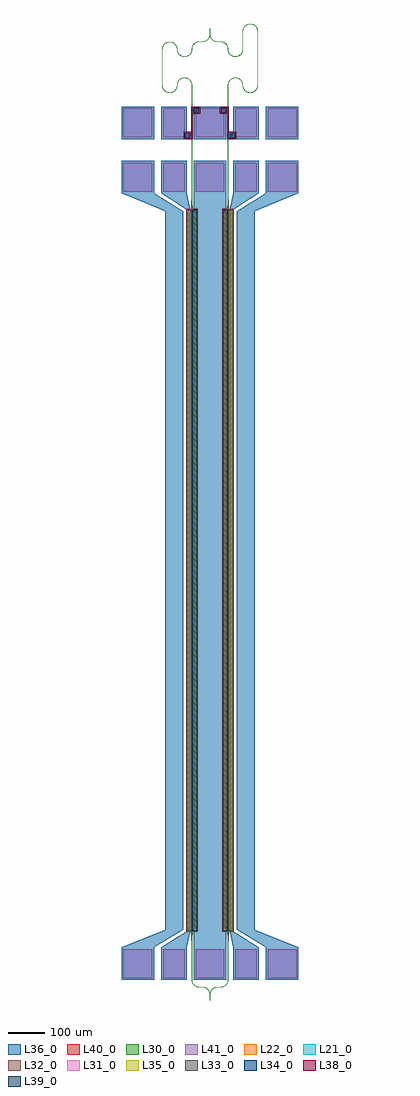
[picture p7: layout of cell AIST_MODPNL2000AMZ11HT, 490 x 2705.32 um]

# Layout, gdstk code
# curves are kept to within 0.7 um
import gdstk
lib = gdstk.Library(unit=1e-6, precision=1e-09)
def R(c, l, rs):  # rectangles x0, y0, x1, y1
    for r in rs: c.add(gdstk.rectangle(r[:2], r[2:], *l))
def A(c, l, x, y, w, h, nx, ny, dx, dy):  # array of equal rectangles
    R(c, l, [(x+i*dx, y+j*dy, x+i*dx+w, y+j*dy+h) for i in range(nx) for j in range(ny)])
def P(c, l, *ps):  # polygons
    for p in ps: c.add(gdstk.Polygon(p, *l))
L21_0 = (21, 0)
L22_0 = (22, 0)
L30_0 = (30, 0)
L31_0 = (31, 0)
L32_0 = (32, 0)
L33_0 = (33, 0)
L34_0 = (34, 0)
L35_0 = (35, 0)
L36_0 = (36, 0)
L38_0 = (38, 0)
L39_0 = (39, 0)
L40_0 = (40, 0)
L41_0 = (41, 0)

aist_modpnl2000amz11ht = lib.new_cell('AIST_MODPNL2000AMZ11HT')
R(aist_modpnl2000amz11ht, L21_0, [(-64.5,229.15,-49.85,2229.65), (49.85,229.15,64.5,2229.65)])
R(aist_modpnl2000amz11ht, L22_0, [(-50.15,228.9,-35.5,2229.9), (35.5,228.9,50.15,2229.9)])
P(aist_modpnl2000amz11ht, L30_0, [(-0.22,38.696),(-1.19,58.454),(-3.172,63.848),(-6.563,68.387),(-11.032,71.74),(-16.026,73.656),(-32.156,74.295),(-38.453,76.031),(-45.041,80.886),(-49.165,87.954),(-50.219,94.16),(-51,228.4),(-65,228.4),(-65,2230.4),(-35,2230.4),(-35,228.4),(-49,228.4),(-49.77,93.759),(-46.899,84.12),(-39.728,77.177),(-32.635,74.796),(-15.873,74.072),(-6.917,69.333),(-1.385,60.846),(-0.095,48.624),(1.411,60.922),(7.036,69.441),(15.873,74.072),(32.635,74.796),(39.728,77.177),(46.899,84.12),(49.77,93.759),(49,228.4),(35,228.4),(35,2230.4),(65,2230.4),(65,228.4),(51,228.4),(50.219,94.16),(49.139,87.878),(45.041,80.886),(38.453,76.031),(32.156,74.295),(16.026,73.656),(11.032,71.74),(6.563,68.387),(3.21,63.918),(1.258,58.768),(1.105,44.472)],
  [(49,2230.4),(49.695,2250.4),(49.78,2260.4),(49.78,2574.88),(49.952,2577.433),(50.328,2579.477),(50.939,2581.548),(51.699,2583.398),(52.637,2585.163),(53.793,2586.891),(55.067,2588.433),(56.486,2589.841),(58.037,2591.102),(59.637,2592.163),(61.547,2593.169),(63.327,2593.887),(65.323,2594.472),(67.05,2594.804),(69.12,2595.001),(71.64,2595.01),(73.633,2594.848),(75.677,2594.472),(77.748,2593.861),(79.598,2593.101),(81.363,2592.163),(83.091,2591.007),(84.633,2589.733),(86.041,2588.314),(87.302,2586.763),(88.363,2585.163),(89.198,2583.614),(89.895,2581.999),(90.493,2580.175),(90.871,2578.539),(91.105,2576.956),(91.21,2575.44),(91.261,2572.52),(91.547,2570.216),(92.173,2567.733),(92.605,2566.527),(93.184,2565.207),(93.937,2563.795),(94.848,2562.382),(95.928,2560.99),(97.013,2559.813),(98.19,2558.728),(99.451,2557.741),(100.788,2556.86),(102.192,2556.089),(104.026,2555.29),(105.932,2554.68),(108.048,2554.241),(109.959,2554.047),(112.641,2554.03),(114.635,2554.196),(116.835,2554.62),(118.824,2555.234),(120.808,2556.089),(122.485,2557.027),(124.252,2558.271),(125.816,2559.645),(127.226,2561.174),(128.469,2562.844),(129.529,2564.635),(130.395,2566.527),(130.991,2568.269),(131.408,2569.98),(131.671,2571.722),(131.779,2573.56),(131.78,2723.88),(131.702,2725.559),(131.408,2727.62),(130.899,2729.638),(130.181,2731.591),(129.223,2733.528),(128.059,2735.349),(126.81,2736.912),(125.291,2738.449),(123.549,2739.859),(121.728,2741.023),(120.084,2741.853),(118.295,2742.552),(116.368,2743.092),(114.635,2743.404),(113.041,2743.553),(106.805,2743.58),(108.606,2743.878),(110.36,2744.01),(112.88,2744.001),(114.633,2743.848),(116.444,2743.526),(117.989,2743.113),(119.645,2742.519),(121.173,2741.82),(122.5,2741.08),(123.963,2740.102),(125.274,2739.053),(126.55,2737.841),(127.716,2736.523),(128.627,2735.307),(129.604,2733.748),(130.369,2732.253),(131.007,2730.699),(131.514,2729.098),(131.886,2727.46),(132.129,2725.717),(132.22,2723.88),(132.219,2573.56),(132.105,2571.644),(131.826,2569.826),(131.405,2568.117),(130.838,2566.452),(129.947,2564.485),(128.895,2562.691),(127.716,2561.077),(126.213,2559.418),(124.661,2558.034),(122.975,2556.817),(121.173,2555.78),(119.199,2554.905),(117.143,2554.245),(114.95,2553.796),(112.88,2553.599),(110.12,2553.599),(108.05,2553.796),(106.089,2554.185),(104.101,2554.793),(102.114,2555.637),(100.637,2556.437),(99.232,2557.357),(97.969,2558.339),(96.787,2559.418),(95.695,2560.586),(94.557,2562.032),(93.637,2563.437),(92.837,2564.914),(91.835,2567.354),(91.425,2568.734),(91.114,2570.14),(90.831,2572.361),(90.77,2575.441),(90.671,2576.878),(90.453,2578.384),(90.057,2580.1),(89.51,2581.774),(88.816,2583.393),(87.94,2585.012),(86.965,2586.478),(85.649,2588.091),(84.291,2589.449),(82.807,2590.67),(81.212,2591.74),(79.376,2592.719),(77.522,2593.474),(75.524,2594.056),(73.635,2594.404),(71.641,2594.57),(69.199,2594.564),(67.365,2594.404),(65.476,2594.056),(63.478,2593.474),(61.697,2592.753),(59.995,2591.863),(58.322,2590.765),(56.709,2589.449),(55.351,2588.091),(54.13,2586.607),(53.06,2585.012),(52.081,2583.176),(51.326,2581.322),(50.744,2579.324),(50.396,2577.435),(50.22,2574.88),(50.22,2260.4),(50.305,2250.4),(51,2230.4)],
  [(69.92,2653.58),(67.606,2653.722),(65.323,2654.128),(63.101,2654.793),(60.97,2655.708),(59.025,2656.817),(57.153,2658.186),(55.45,2659.759),(53.938,2661.517),(52.888,2663.028),(51.908,2664.77),(51.105,2666.601),(50.486,2668.502),(50.114,2670.14),(49.895,2671.644),(49.79,2673.16),(49.744,2676),(49.534,2677.91),(49.057,2680.1),(48.244,2682.443),(47.063,2684.805),(45.529,2687.052),(43.701,2689.067),(41.678,2690.765),(39.728,2692.023),(37.643,2693.044),(35.531,2693.791),(33.347,2694.295),(31.919,2694.487),(30.4,2694.576),(19.431,2694.611),(17.284,2694.845),(15.252,2695.286),(12.905,2696.081),(10.602,2697.196),(8.459,2698.593),(6.509,2700.25),(4.834,2702.077),(3.438,2704.028),(2.181,2706.347),(1.285,2708.658),(0.74,2710.747),(0.421,2712.883),(0.095,2720.576),(-0.095,2720.576),(-0.361,2713.681),(-0.595,2711.534),(-0.878,2710.123),(-1.237,2708.811),(-2.181,2706.347),(-2.946,2704.852),(-3.743,2703.558),(-4.734,2702.202),(-5.671,2701.108),(-6.8,2699.975),(-7.952,2698.984),(-9.308,2697.993),(-10.683,2697.151),(-10.683,2697.657),(-9.001,2698.741),(-7.498,2699.937),(-6.063,2701.332),(-4.825,2702.801),(-3.82,2704.247),(-2.984,2705.706),(-2.245,2707.305),(-1.651,2708.962),(-1.097,2711.216),(-0.811,2713.52),(-0.77,2714.8),(-1.005,2720.576),(-1.105,2720.576),(-1.105,2724.728),(-0.455,2724.728),(-0.22,2730.504),(0.22,2730.504),(0.455,2724.728),(1.105,2724.728),(1.105,2720.576),(1.005,2720.576),(0.771,2714.56),(0.906,2712.483),(1.258,2710.432),(1.984,2707.976),(3.096,2705.493),(4.491,2703.251),(5.324,2702.174),(6.283,2701.099),(8.235,2699.321),(10.338,2697.86),(12.759,2696.619),(15.25,2695.743),(17.44,2695.266),(19.509,2695.047),(30.4,2695.016),(31.917,2694.929),(33.266,2694.755),(35.375,2694.293),(37.497,2693.579),(39.598,2692.597),(41.507,2691.427),(43.633,2689.733),(45.512,2687.77),(47.112,2685.572),(47.835,2684.327),(48.468,2683.034),(49.313,2680.789),(49.928,2678.224),(50.189,2675.919),(50.23,2673.159),(50.329,2671.722),(50.592,2669.98),(51.009,2668.269),(51.695,2666.305),(52.546,2664.493),(53.621,2662.711),(54.928,2660.99),(56.709,2659.151),(58.647,2657.602),(60.835,2656.271),(63.176,2655.234),(65.476,2654.544),(67.922,2654.129),(69.359,2654.03),(71.08,2654.02),(73.317,2654.156),(74.82,2654.392),(76.3,2654.743),(77.824,2655.234),(79.084,2655.747),(80.518,2656.46),(81.755,2657.199),(83,2658.075),(84.052,2658.937),(84.987,2659.813),(86.072,2660.99),(87.059,2662.251),(87.899,2663.52),(88.639,2664.849),(89.244,2666.157),(89.752,2667.505),(90.199,2669.042),(90.604,2671.165),(90.779,2673.56),(90.79,2724.44),(90.952,2726.433),(91.274,2728.244),(91.735,2729.942),(92.404,2731.741),(93.053,2733.115),(93.72,2734.3),(94.557,2735.568),(95.539,2736.831),(96.562,2737.956),(97.605,2738.947),(98.717,2739.862),(100.025,2740.783),(101.614,2741.71),(103.059,2742.396),(104.554,2742.965),(106.089,2743.415),(106.805,2743.58),(110.92,2743.58),(109.32,2743.509),(107.653,2743.295),(106.165,2742.98),(104.705,2742.552),(103.209,2741.981),(101.693,2741.254),(100.245,2740.401),(99.001,2739.525),(97.769,2738.503),(96.623,2737.385),(95.621,2736.24),(94.621,2734.889),(93.777,2733.528),(93.047,2732.103),(92.434,2730.624),(91.943,2729.1),(91.418,2726.593),(91.221,2724.04),(91.201,2672.92),(91.004,2670.85),(90.672,2669.123),(90.087,2667.127),(89.369,2665.347),(88.682,2663.992),(87.895,2662.691),(87.062,2661.517),(86.041,2660.286),(85.041,2659.25),(83.847,2658.186),(82.638,2657.265),(81.363,2656.437),(80.173,2655.78),(78.793,2655.142),(77.446,2654.635),(75.911,2654.185),(74.424,2653.872),(73.156,2653.695),(71.64,2653.59)],
  [(-51,2230.4),(-50.305,2250.4),(-50.22,2260.4),(-50.22,2574.88),(-50.298,2576.559),(-50.547,2578.384),(-51.009,2580.331),(-51.695,2582.295),(-52.546,2584.107),(-53.621,2585.889),(-54.928,2587.61),(-56.299,2589.067),(-57.748,2590.329),(-59.447,2591.53),(-61.192,2592.511),(-63.026,2593.31),(-64.932,2593.92),(-66.89,2594.334),(-69.039,2594.557),(-71.641,2594.57),(-73.635,2594.404),(-75.368,2594.092),(-77.295,2593.552),(-79.084,2592.853),(-80.728,2592.023),(-82.287,2591.044),(-83.81,2589.872),(-85.155,2588.616),(-86.379,2587.24),(-87.469,2585.756),(-88.34,2584.318),(-89.053,2582.884),(-89.674,2581.322),(-90.18,2579.635),(-90.495,2578.147),(-90.687,2576.719),(-90.811,2572.681),(-91.045,2570.534),(-91.595,2568.117),(-92.404,2565.859),(-93.053,2564.485),(-93.72,2563.3),(-94.557,2562.032),(-95.539,2560.769),(-96.562,2559.644),(-97.605,2558.653),(-98.717,2557.738),(-100.025,2556.817),(-101.614,2555.89),(-103.355,2555.081),(-105.087,2554.464),(-107.026,2553.974),(-108.844,2553.695),(-110.6,2553.584),(-112.88,2553.599),(-114.95,2553.796),(-116.677,2554.128),(-118.522,2554.661),(-120.234,2555.332),(-121.948,2556.196),(-123.507,2557.173),(-124.97,2558.288),(-126.213,2559.418),(-127.461,2560.769),(-128.443,2562.032),(-129.363,2563.437),(-130.163,2564.914),(-130.838,2566.452),(-131.405,2568.117),(-131.794,2569.669),(-132.068,2571.326),(-132.201,2572.92),(-132.22,2673.88),(-132.157,2675.398),(-131.826,2677.774),(-131.265,2679.942),(-130.468,2682.034),(-129.363,2684.163),(-128.062,2686.083),(-126.55,2687.841),(-124.847,2689.414),(-122.975,2690.783),(-121.03,2691.892),(-118.899,2692.807),(-116.911,2693.415),(-114.633,2693.848),(-112.4,2694.016),(-109.402,2693.957),(-107.026,2693.626),(-104.858,2693.065),(-103.059,2692.396),(-101.473,2691.635),(-99.891,2690.695),(-98.402,2689.616),(-96.959,2688.35),(-95.747,2687.074),(-94.698,2685.763),(-93.637,2684.163),(-92.908,2682.83),(-92.281,2681.445),(-91.735,2679.942),(-91.328,2678.477),(-90.895,2675.956),(-90.739,2672.52),(-90.559,2670.848),(-90.18,2668.965),(-89.674,2667.278),(-88.816,2665.207),(-87.773,2663.315),(-86.479,2661.485),(-84.987,2659.813),(-83.252,2658.271),(-81.212,2656.86),(-79.084,2655.747),(-76.684,2654.854),(-74.347,2654.305),(-71.961,2654.043),(-68.959,2654.047),(-66.416,2654.347),(-64.469,2654.809),(-62.727,2655.405),(-60.835,2656.271),(-59.044,2657.331),(-57.56,2658.421),(-56.013,2659.813),(-54.621,2661.36),(-53.531,2662.844),(-52.66,2664.282),(-51.947,2665.716),(-51.326,2667.278),(-50.801,2669.042),(-50.505,2670.453),(-50.298,2672.041),(-50.189,2675.919),(-49.98,2677.908),(-49.493,2680.175),(-48.779,2682.297),(-47.604,2684.748),(-46.895,2685.909),(-46.062,2687.083),(-44.382,2689.013),(-43.395,2689.947),(-42.283,2690.862),(-40.363,2692.163),(-38.453,2693.169),(-36.446,2693.965),(-34.131,2694.594),(-32.394,2694.878),(-30.64,2695.01),(-20.31,2695.021),(-17.915,2695.196),(-16.026,2695.544),(-14.255,2696.048),(-12.466,2696.747),(-10.683,2697.657),(-10.683,2697.151),(-12.757,2696.142),(-15.175,2695.307),(-17.6,2694.796),(-20.31,2694.581),(-30.801,2694.564),(-32.635,2694.404),(-34.524,2694.056),(-36.522,2693.474),(-38.593,2692.616),(-40.485,2691.573),(-42.252,2690.329),(-43.291,2689.449),(-44.267,2688.501),(-45.87,2686.607),(-46.601,2685.555),(-47.34,2684.318),(-48.395,2682.073),(-49.12,2679.868),(-49.559,2677.752),(-49.753,2675.841),(-49.871,2671.883),(-50.045,2670.534),(-50.328,2669.123),(-50.835,2667.354),(-51.404,2665.859),(-52.203,2664.202),(-53.105,2662.691),(-54.284,2661.077),(-55.618,2659.587),(-57.153,2658.186),(-58.758,2656.993),(-60.614,2655.89),(-62.355,2655.081),(-64.317,2654.395),(-66.34,2653.914),(-68.881,2653.611),(-71.88,2653.599),(-74.266,2653.845),(-76.683,2654.395),(-79.088,2655.268),(-81.363,2656.437),(-83.472,2657.885),(-85.382,2659.587),(-86.816,2661.202),(-88.112,2663.028),(-89.198,2664.986),(-90.061,2667.052),(-90.615,2668.889),(-91.004,2670.85),(-91.169,2672.361),(-91.313,2675.719),(-91.744,2678.324),(-92.101,2679.638),(-92.605,2681.073),(-93.219,2682.465),(-93.937,2683.805),(-94.941,2685.349),(-96.032,2686.731),(-97.299,2688.067),(-98.56,2689.179),(-100.044,2690.269),(-101.482,2691.14),(-103.062,2691.917),(-104.705,2692.552),(-106.946,2693.16),(-109.081,2693.487),(-112.08,2693.58),(-114.078,2693.471),(-116.368,2693.092),(-118.522,2692.474),(-120.593,2691.616),(-122.485,2690.573),(-124.315,2689.279),(-125.987,2687.787),(-127.529,2686.052),(-128.857,2684.149),(-129.919,2682.176),(-130.752,2680.095),(-131.376,2677.777),(-131.709,2675.48),(-131.78,2673.88),(-131.764,2572.999),(-131.644,2571.483),(-131.36,2569.745),(-130.946,2568.116),(-130.395,2566.527),(-129.711,2564.992),(-128.94,2563.588),(-128.059,2562.251),(-127.072,2560.99),(-125.816,2559.645),(-124.44,2558.421),(-122.956,2557.331),(-121.518,2556.46),(-119.938,2555.683),(-118.295,2555.048),(-116.524,2554.544),(-114.793,2554.218),(-112.801,2554.036),(-110.359,2554.03),(-108.683,2554.156),(-107.023,2554.424),(-105.316,2554.854),(-103.505,2555.495),(-101.835,2556.271),(-100.245,2557.199),(-99,2558.075),(-97.948,2558.937),(-97.013,2559.813),(-95.928,2560.99),(-95.035,2562.122),(-94.227,2563.315),(-93.471,2564.635),(-92.819,2566.009),(-92.009,2568.269),(-91.466,2570.69),(-91.247,2572.759),(-91.129,2576.717),(-90.928,2578.224),(-90.615,2579.711),(-90.087,2581.473),(-89.468,2583.034),(-88.682,2584.608),(-87.807,2586.042),(-86.716,2587.523),(-85.382,2589.013),(-84.031,2590.261),(-82.507,2591.427),(-80.948,2592.404),(-79.234,2593.268),(-77.446,2593.965),(-75.444,2594.526),(-73.633,2594.848),(-71.64,2595.01),(-68.881,2594.989),(-66.734,2594.755),(-64.702,2594.314),(-62.801,2593.695),(-60.97,2592.892),(-59.16,2591.869),(-57.402,2590.616),(-55.844,2589.238),(-54.488,2587.77),(-53.193,2586.042),(-52.09,2584.186),(-51.281,2582.445),(-50.595,2580.483),(-50.114,2578.46),(-49.871,2576.717),(-49.78,2574.88),(-49.78,2260.4),(-49.695,2250.4),(-49,2230.4)])
R(aist_modpnl2000amz11ht, L31_0, [(-64.5,228.9,-50,2229.9), (50,228.9,64.5,2229.9)])
R(aist_modpnl2000amz11ht, L32_0, [(-50,228.9,-35.5,2229.9), (35.5,228.9,50,2229.9)])
R(aist_modpnl2000amz11ht, L33_0, [(-64.5,229.4,-51.15,2229.4), (51.15,229.4,64.5,2229.4)])
R(aist_modpnl2000amz11ht, L34_0, [(-48.85,229.4,-35.5,2229.4), (35.5,229.4,48.85,2229.4)])
R(aist_modpnl2000amz11ht, L35_0, [(-63,230.4,-56,2228.4), (-44,230.4,-37,2228.4), (37,230.4,44,2228.4), (56,230.4,63,2228.4)])
A(aist_modpnl2000amz11ht, L36_0, -245, 94.4, 90, 90, 3, 2, 200, 2180)
A(aist_modpnl2000amz11ht, L36_0, -245, 2424.8, 90, 90, 3, 1, 200, 0)
R(aist_modpnl2000amz11ht, L36_0, [(-245,94.4,-155,184.4), (-135,94.4,-65,184.4), (65,94.4,135,184.4), (155,94.4,245,184.4), (-64.5,229.4,-54.5,2229.4), (-45.5,229.4,45.5,2229.4), (54.5,229.4,64.5,2229.4), (-123.5,233.4,-73.5,2225.4), (73.5,233.4,123.5,2225.4), (-245,2274.4,-155,2364.4), (-135,2274.4,-65,2364.4), (65,2274.4,135,2364.4), (155,2274.4,245,2364.4), (-135,2424.8,-65,2514.8), (-72.5,2424.8,-52.5,2444.8), (-72.5,2424.8,-52.5,2444.8), (52.5,2424.8,72.5,2444.8), (52.5,2424.8,72.5,2444.8), (65,2424.8,135,2514.8), (155,2424.8,245,2514.8), (-47.5,2494.8,-27.5,2514.8), (-47.5,2494.8,-27.5,2514.8), (27.5,2494.8,47.5,2514.8), (27.5,2494.8,47.5,2514.8)])
P(aist_modpnl2000amz11ht, L36_0, [(-245,184.4),(-123.5,233.4),(-73.5,233.4),(-155,184.4)],
  [(-123.5,2225.4),(-245,2274.4),(-155,2274.4),(-73.5,2225.4)],
  [(-64.5,2229.4),(-135,2274.4),(-65,2274.4),(-54.5,2229.4)],
  [(-45.5,2229.4),(-45,2274.4),(45,2274.4),(45.5,2229.4)],
  [(54.5,2229.4),(65,2274.4),(135,2274.4),(64.5,2229.4)],
  [(73.5,2225.4),(155,2274.4),(245,2274.4),(123.5,2225.4)],
  [(65,184.4),(54.5,229.4),(64.5,229.4),(135,184.4)],
  [(155,184.4),(73.5,233.4),(123.5,233.4),(245,184.4)],
  [(-135,184.4),(-64.5,229.4),(-54.5,229.4),(-65,184.4)],
  [(-45,184.4),(-45.5,229.4),(45.5,229.4),(45,184.4)])
R(aist_modpnl2000amz11ht, L38_0, [(-72.5,2424.8,-52.5,2444.8), (-52.5,2424.8,-47.5,2514.8), (47.5,2424.8,52.5,2514.8), (52.5,2424.8,72.5,2444.8), (-47.5,2494.8,-27.5,2514.8), (27.5,2494.8,47.5,2514.8)])
R(aist_modpnl2000amz11ht, L39_0, [(-69.5,2427.8,-55.5,2441.8), (55.5,2427.8,69.5,2441.8), (-44.5,2497.8,-30.5,2511.8), (30.5,2497.8,44.5,2511.8)])
P(aist_modpnl2000amz11ht, L40_0, [(48.78,198.4),(48.695,208.4),(48,227.4),(34,227.4),(34,2231.4),(48,2231.4),(48.695,2250.4),(48.78,2260.4),(49.695,2260.4),(49.695,198.4)],
  [(50.305,198.4),(50.305,2260.4),(51.22,2260.4),(51.305,2250.4),(52,2231.4),(66,2231.4),(66,227.4),(52,227.4),(51.305,208.4),(51.22,198.4)],
  [(-51.22,198.4),(-51.305,208.4),(-52,227.4),(-66,227.4),(-66,2231.4),(-52,2231.4),(-51.305,2250.4),(-51.22,2260.4),(-50.305,2260.4),(-50.305,198.4)],
  [(-49.695,198.4),(-49.695,2260.4),(-48.78,2260.4),(-48.695,2250.4),(-48,2231.4),(-34,2231.4),(-34,227.4),(-48,227.4),(-48.695,208.4),(-48.78,198.4)])
A(aist_modpnl2000amz11ht, L41_0, -240, 99.4, 80, 80, 3, 2, 200, 2180)
A(aist_modpnl2000amz11ht, L41_0, -240, 2429.8, 80, 80, 3, 1, 200, 0)
R(aist_modpnl2000amz11ht, L41_0, [(-240,99.4,-160,179.4), (-130,99.4,-70,179.4), (70,99.4,130,179.4), (160,99.4,240,179.4), (-240,2279.4,-160,2359.4), (-130,2279.4,-70,2359.4), (70,2279.4,130,2359.4), (160,2279.4,240,2359.4), (-130,2429.8,-70,2509.8), (70,2429.8,130,2509.8), (160,2429.8,240,2509.8)])

lib.write_gds('AIST_MODPNL2000AMZ11HT.gds')
